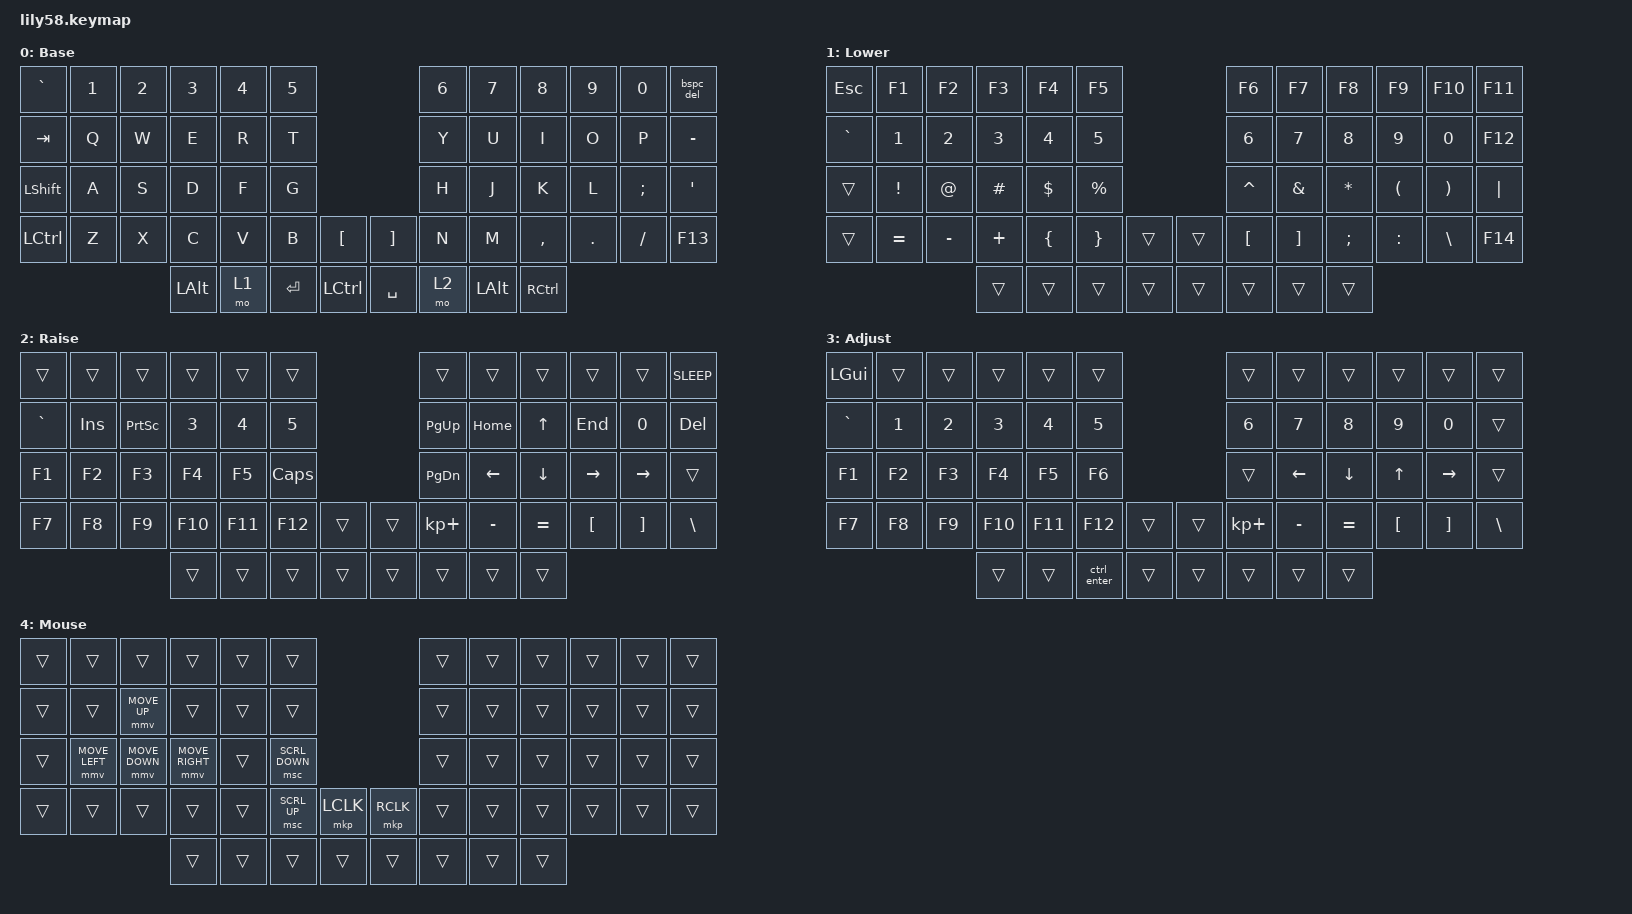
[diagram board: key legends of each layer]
/*
 * Copyright (c) 2020 The ZMK Contributors
 *
 * SPDX-License-Identifier: MIT
 */

#include <behaviors.dtsi>
#include <dt-bindings/zmk/keys.h>
#include <dt-bindings/zmk/bt.h>
#include <dt-bindings/zmk/ext_power.h>
#include <dt-bindings/zmk/pointing.h>

#define default_layer 0
#define lower_layer 1
#define raise_layer 2
#define adjust_layer 3
#define extra 4


/ {
    macros {
        ctrl_c_com: ctrl_c_com {
            compatible = "zmk,behavior-macro";
            label = "CTRL_C_COM";
            #binding-cells = <0>;

            bindings =
                <&macro_press &kp LCTRL>
                ,<&macro_tap &kp C>
                ,<&macro_release &kp LCTRL>
                ,<&macro_tap &kp COMMA>;
        };

        ctrl_enter: ctrl_enter {
            compatible = "zmk,behavior-macro";
            label = "CTRL_ENTER";
            #binding-cells = <0>;

            bindings =
                <&macro_press &kp LCTRL>
                ,<&macro_tap &kp ENTER>
                ,<&macro_release &kp LCTRL>;
        };


    };

    behaviors {
      bspc_del: bspc_del {
        compatible = "zmk,behavior-mod-morph";
        label = "BSPC_DEL";
        #binding-cells = <0>;

        bindings = <&kp BACKSPACE>, <&kp DELETE>;
        mods = <(MOD_LSFT|MOD_RSFT)>;
      };
    };


    keymap {
        compatible = "zmk,keymap";

        default_layer {
            display-name = "Base";

// ------------------------------------------------------------------------------------------------------------
// |  ESC  |  1  |  2  |  3   |  4   |  5   |                   |  6   |  7    |  8    |  9   |   0   |   `   |
// |  TAB  |  Q  |  W  |  E   |  R   |  T   |                   |  Y   |  U    |  I    |  O   |   P   |   -   |
// |  CTRL |  A  |  S  |  D   |  F   |  G   |                   |  H   |  J    |  K    |  L   |   ;   |   '   |
// | SHIFT |  Z  |  X  |  C   |  V   |  B   |   "["  |  |  "]"  |  N   |  M    |  ,    |  .   |   /   | SHIFT |
//                     | ALT  | GUI  | LOWER|  SPACE |  | ENTER | RAISE| BSPC  | GUI   |
            bindings = <
&kp GRAVE       &kp N1  &kp N2  &kp N3    &kp N4     &kp N5                          &kp N6  &kp N7     &kp N8        &kp N9   &kp N0    &bspc_del
&kp TAB         &kp Q   &kp W   &kp E     &kp R      &kp T                           &kp Y   &kp U      &kp I         &kp O    &kp P     &kp MINUS
&kp LEFT_SHIFT  &kp A   &kp S   &kp D     &kp F      &kp G                           &kp H   &kp J      &kp K         &kp L    &kp SEMI  &kp SQT
&kp LCTRL       &kp Z   &kp X   &kp C     &kp V      &kp B   &kp LBKT     &kp RBKT   &kp N   &kp M      &kp COMMA     &kp DOT  &kp FSLH  &kp F13
                                &kp LALT  &mo 1      &kp ENTER &kp LCTRL  &kp SPACE  &mo 2   &kp LEFT_ALT &kp RCTRL  
            >;
        };

        lower_layer {
            display-name = "Lower";
// ------------------------------------------------------------------------------------------------------------
// | BTCLR | BT1 | BT2 |  BT3 |  BT4 |  BT5 |                   |      |       |       |      |       |       |
// |  F1   |  F2 |  F3 |  F4  |  F5  |  F6  |                   |  F7  |  F8   |  F9   |  F10 |  F11  |  F12  |
// |   `   |  !  |  @  |  #   |  $   |  %   |                   |  ^   |  &    |  *    |  (   |   )   |   ~   |
// |       |     |     |      |      |      |        |  |       |      |  _    |  +    |  {   |   }   |  "|"  |
//                     |      |      |      |        |  |       |      |       |       |
            bindings = <
&kp ESCAPE      &kp F1        &kp F2        &kp F3        &kp F4          &kp F5                             &kp F6            &kp F7             &kp F8         &kp F9     &kp F10        &kp F11
&kp GRAVE       &kp NUMBER_1  &kp NUMBER_2  &kp NUMBER_3  &kp NUMBER_4    &kp N5                             &kp NUMBER_6      &kp N7             &kp N8         &kp N9     &kp N0         &kp F12
&trans          &kp EXCL      &kp AT        &kp HASH      &kp DOLLAR      &kp PRCNT                          &kp CARET         &kp AMPS           &kp ASTRK      &kp LPAR   &kp RPAR       &kp PIPE
&trans          &kp EQUAL     &kp MINUS     &kp PLUS      &kp LEFT_BRACE  &kp RIGHT_BRACE  &trans    &trans  &kp LEFT_BRACKET  &kp RIGHT_BRACKET  &kp SEMICOLON  &kp COLON  &kp BACKSLASH  &kp F14
                                            &trans        &trans          &trans           &trans    &trans  &trans            &trans             &trans
            >;
        };

        raise_layer {
            display-name = "Raise";
// ------------------------------------------------------------------------------------------------------------
// |       |     |     |      |      |      |                   |      |       |       |      |       |       |
// |   `   |  1  |  2  |  3   |  4   |  5   |                   |  6   |   7   |   8   |  9   |   0   |       |
// |   F1  |  F2 |  F3 |  F4  |  F5  |  F6  |                   |      |   <-  |   v   |  ^   |  ->   |       |
// |   F7  |  F8 |  F9 |  F10 |  F11 |  F12 |        |  |       |  +   |   -   |   =   |  [   |   ]   |   \   |
//                     |      |      |      |        |  |       |      |       |       |
            bindings = <
&trans     &trans      &trans           &trans   &trans   &trans                          &trans         &trans     &trans     &trans     &trans     &kp C_SLEEP
&kp GRAVE  &kp INSERT  &kp PRINTSCREEN  &kp N3   &kp N4   &kp N5                          &kp PAGE_UP    &kp HOME   &kp UP     &kp END    &kp N0     &kp DEL
&kp F1     &kp F2      &kp F3           &kp F4   &kp F5   &kp CAPSLOCK                    &kp PAGE_DOWN  &kp LEFT   &kp DOWN   &kp RIGHT  &kp RIGHT  &trans
&kp F7     &kp F8      &kp F9           &kp F10  &kp F11  &kp F12       &trans    &trans  &kp KP_PLUS    &kp MINUS  &kp EQUAL  &kp LBKT   &kp RBKT   &kp BSLH
                                        &trans   &trans   &trans        &trans    &trans  &trans         &trans     &trans
            >;
        };
        adjust_layer {
            display-name = "Adjust";
// ------------------------------------------------------------------------------------------------------------
// |       |     |     |      |      |      |                   |      |       |       |      |       |       |
// |   `   |  1  |  2  |  3   |  4   |  5   |                   |  6   |   7   |   8   |  9   |   0   |       |
// |   F1  |  F2 |  F3 |  F4  |  F5  |  F6  |                   |      |   <-  |   v   |  ^   |  ->   |       |
// |   F7  |  F8 |  F9 |  F10 |  F11 |  F12 |        |  |       |  +   |   -   |   =   |  [   |   ]   |   \   |
//                     |      |      |      |        |  |       |      |       |       |
            bindings = <
&kp LGUI     &trans  &trans  &trans   &trans   &trans                     &trans       &trans     &trans     &trans    &trans     &trans
&kp GRAVE  &kp N1  &kp N2  &kp N3   &kp N4   &kp N5                     &kp N6       &kp N7     &kp N8     &kp N9    &kp N0     &trans
&kp F1     &kp F2  &kp F3  &kp F4   &kp F5   &kp F6                     &trans       &kp LEFT   &kp DOWN   &kp UP    &kp RIGHT  &trans
&kp F7     &kp F8  &kp F9  &kp F10  &kp F11  &kp F12  &trans    &trans  &kp KP_PLUS  &kp MINUS  &kp EQUAL  &kp LBKT  &kp RBKT   &kp BSLH
                           &trans   &trans   &ctrl_enter   &trans    &trans  &trans       &trans     &trans
            >;
        };
        extra {
            display-name = "Mouse";
// ------------------------------------------------------------------------------------------------------------
// |       |     |     |      |      |      |                   |      |       |       |      |       |       |
// |   `   |  1  |  2  |  3   |  4   |  5   |                   |  6   |   7   |   8   |  9   |   0   |       |
// |   F1  |  F2 |  F3 |  F4  |  F5  |  F6  |                   |      |   <-  |   v   |  ^   |  ->   |       |
// |   F7  |  F8 |  F9 |  F10 |  F11 |  F12 |        |  |       |  +   |   -   |   =   |  [   |   ]   |   \   |
//                     |      |      |      |        |  |       |      |       |       |
            bindings = <
&trans  &trans          &trans          &trans           &trans  &trans                                  &trans  &trans  &trans  &trans  &trans  &trans
&trans  &trans          &mmv MOVE_UP    &trans           &trans  &trans                                  &trans  &trans  &trans  &trans  &trans  &trans
&trans  &mmv MOVE_LEFT  &mmv MOVE_DOWN  &mmv MOVE_RIGHT  &trans  &msc SCRL_DOWN                          &trans  &trans  &trans  &trans  &trans  &trans
&trans  &trans          &trans          &trans           &trans  &msc SCRL_UP    &mkp LCLK    &mkp RCLK  &trans  &trans  &trans  &trans  &trans  &trans
                                        &trans           &trans  &trans          &trans       &trans     &trans  &trans  &trans
            >;
        };
    };
};
